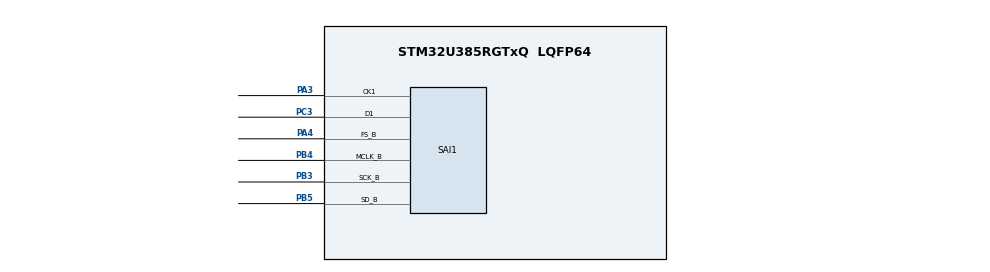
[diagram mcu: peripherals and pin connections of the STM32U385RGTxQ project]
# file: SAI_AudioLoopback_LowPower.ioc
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CORTEX_M33_NS.userName=CORTEX_M33
GPDMA1.CIRCULARMODE_GPDMACH0=ENABLE
GPDMA1.CIRCULARMODE_GPDMACH1=ENABLE
GPDMA1.DESTDATAWIDTH_GPDMACH1=DMA_DEST_DATAWIDTH_HALFWORD
GPDMA1.DESTINC_GPDMACH0=DMA_DINC_INCREMENTED
GPDMA1.DIRECTION_GPDMACH1=DMA_MEMORY_TO_PERIPH
GPDMA1.DMAHANDLE_GPDMACH1=hdmatx
GPDMA1.IPHANDLE_GPDMACH0-SIMPLEREQUEST_GPDMACH0=__NULL
GPDMA1.IPHANDLE_GPDMACH1-SIMPLEREQUEST_GPDMACH1=__NULL
GPDMA1.LINKALLOCATEDPORT_CIRCULAR_GPDMACH0=DMA_LINK_ALLOCATED_PORT1
GPDMA1.PRIORITY_LL_CIRCULAR_GPDMACH0=DMA_LOW_PRIORITY_HIGH_WEIGHT
GPDMA1.PRIORITY_LL_CIRCULAR_GPDMACH1=DMA_LOW_PRIORITY_HIGH_WEIGHT
GPDMA1.REQUEST_GPDMACH0=GPDMA1_REQUEST_SAI1_A
GPDMA1.REQUEST_GPDMACH1=GPDMA1_REQUEST_SAI1_B
GPDMA1.SRCDATAWIDTH_GPDMACH1=DMA_SRC_DATAWIDTH_HALFWORD
GPDMA1.SRCINC_GPDMACH1=DMA_SINC_INCREMENTED
GPDMA1.TRANSFERALLOCATEDPORTDEST_GPDMACH0=DMA_DEST_ALLOCATED_PORT1
GPDMA1.TRANSFERALLOCATEDPORTDEST_GPDMACH1=DMA_DEST_ALLOCATED_PORT1
Mcu.Family=STM32U3
Mcu.Name=STM32U385RGTxQ
Mcu.Package=LQFP64
NVIC.GPDMA1_Channel0_IRQn=true\:0\:0\:false\:false\:true\:false\:true\:true
NVIC.GPDMA1_Channel1_IRQn=true\:0\:0\:false\:false\:true\:false\:true\:true
NVIC.PriorityGroup=NVIC_PRIORITYGROUP_4
NVIC.SAI1_IRQn=true\:0\:0\:false\:false\:true\:true\:true\:true
PA3.GPIO_Speed=GPIO_SPEED_FREQ_HIGH
PA3.Mode=PDM_Master_Mode_CK1
PA3.Signal=SAI1_CK1
PA4.GPIO_Speed=GPIO_SPEED_FREQ_HIGH
PA4.Mode=SAI_B_MasterWithClock
PA4.Signal=SAI1_FS_B
PB3\ (JTDO/TRACESWO).GPIO_Speed=GPIO_SPEED_FREQ_HIGH
PB3\ (JTDO/TRACESWO).Mode=SAI_B_MasterWithClock
PB3\ (JTDO/TRACESWO).Signal=SAI1_SCK_B
PB4\ (NJTRST).GPIO_Speed=GPIO_SPEED_FREQ_HIGH
PB4\ (NJTRST).Mode=SAI_B_MasterWithClock
PB4\ (NJTRST).Signal=SAI1_MCLK_B
PB5.GPIO_Speed=GPIO_SPEED_FREQ_HIGH
PB5.Mode=SAI_B_MasterWithClock
PB5.Signal=SAI1_SD_B
PC3.GPIO_Speed=GPIO_SPEED_FREQ_HIGH
PC3.Mode=PDM_Master_Mode_CK1
PC3.Signal=SAI1_D1
ProjectManager.HeapSize=0x200
ProjectManager.StackSize=0x400
ProjectManager.TargetToolchain=EWARM V9.20
RCC.ADCFreq_Value=12000000
RCC.AHBFreq_Value=12000000
RCC.APB1Freq_Value=12000000
RCC.APB1TimFreq_Value=12000000
RCC.APB2Freq_Value=12000000
RCC.APB2TimFreq_Value=12000000
RCC.APB3Freq_Value=12000000
RCC.CortexFreq_Value=1500000
RCC.HCLKFreq_Value=12000000
RCC.HSE_VALUE=16000000
RCC.HSI48_VALUE=48000000
RCC.HSI_VALUE=16000000
RCC.LSE_VALUE=32768
RCC.LSIDIV_VALUE=32000
RCC.MSIKDIV=RCC_MSI_DIV2
RCC.SYSCLKFreq_VALUE=12000000
RCC.USBFreq_Value=12000000
SAI1.Activation=ENABLE
SAI1.ActiveFrameLength-SAI_B_MasterWithClock=16
SAI1.AudioFrequency-PDM_Master_Mode_CK1=SAI_AUDIO_FREQUENCY_MCKDIV
SAI1.AudioFrequency-SAI_B_MasterWithClock=SAI_AUDIO_FREQUENCY_32K
SAI1.DataSize-SAI_B_MasterWithClock=SAI_DATASIZE_16
SAI1.ErrorAudioFreq-PDM_Master_Mode_CK1=-2.34 %
SAI1.ErrorAudioFreq-SAI_B_MasterWithClock=-2.34 %
SAI1.FIFOThreshold-PDM_Master_Mode_CK1=SAI_FIFOTHRESHOLD_1QF
SAI1.FIFOThreshold-SAI_B_MasterWithClock=SAI_FIFOTHRESHOLD_1QF
SAI1.FSOffset-SAI_B_MasterWithClock=SAI_FS_BEFOREFIRSTBIT
SAI1.FSPolarity-PDM_Master_Mode_CK1=SAI_FS_ACTIVE_HIGH
SAI1.FirstBit-PDM_Master_Mode_CK1=SAI_FIRSTBIT_LSB
SAI1.FrameLength-PDM_Master_Mode_CK1=16
SAI1.FrameLength-SAI_B_MasterWithClock=32
SAI1.Instance-PDM_Master_Mode_CK1=SAI$Index_Block_A
SAI1.Instance-SAI_B_MasterWithClock=SAI$Index_Block_B
SAI1.MckOutput-PDM_Master_Mode_CK1=SAI_MCK_OUTPUT_DISABLE
SAI1.MckOutput-SAI_B_MasterWithClock=SAI_MCK_OUTPUT_ENABLE
SAI1.Mckdiv-PDM_Master_Mode_CK1=12
SAI1.NoDivider-PDM_Master_Mode_CK1=SAI_MASTERDIVIDER_DISABLE
SAI1.OutputDrive-PDM_Master_Mode_CK1=SAI_OUTPUTDRIVE_ENABLE
SAI1.RealAudioFreq-PDM_Master_Mode_CK1=0 Hz
SAI1.RealAudioFreq-SAI_B_MasterWithClock=31.25 KHz
SAI1.SlotActive-PDM_Master_Mode_CK1=0x0000FFFF
SAI1.SlotActive-SAI_B_MasterWithClock=0x0000FFFF
SAI1.SlotNumber-PDM_Master_Mode_CK1=2
SAI1.SlotNumber-SAI_B_MasterWithClock=2
SAI1.VirtualMode-PDM_Master_Mode_CK1=VM_MASTER
SAI1.VirtualMode-SAI_B_MasterWithClock=VM_MASTER
SAI1.VirtualProtocol-PDM_Master_Mode_CK1=VM_PDM_PROTOCOL
SAI1.VirtualSlotActive-PDM_Master_Mode_CK1=SAI_SLOTACTIVE_ALL
SAI1.VirtualSlotActive-SAI_B_MasterWithClock=SAI_SLOTACTIVE_ALL
VP_GPDMA1_VS_GPDMACH0.Mode=SIMPLEREQUEST_GPDMACH0
VP_GPDMA1_VS_GPDMACH1.Mode=SIMPLEREQUEST_GPDMACH1
VP_ICACHE_VS_ICACHE.Mode=DirectMappedCache
VP_PWR_VS_DBSignals.Mode=DisableDeadBatterySignals
VP_PWR_VS_LPOM.Mode=PowerOptimisation
VP_PWR_VS_SECSignals.Mode=Security/Privilege
board=custom

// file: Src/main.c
/* USER CODE BEGIN Header */
/**
  ******************************************************************************
  * @file           : main.c
  * @brief          : Main program body
  ******************************************************************************
  * @attention
  *
  * Copyright (c) 2024 STMicroelectronics.
  * All rights reserved.
  *
  * This software is licensed under terms that can be found in the LICENSE file
  * in the root directory of this software component.
  * If no LICENSE file comes with this software, it is provided AS-IS.
  *
  ******************************************************************************
  */
/* USER CODE END Header */
#include "main.h"

/* USER CODE BEGIN Includes */
#include "pdm2pcm_glo.h"
#include "stm32u3xx_nucleo.h"
#include "stm32u3xx_nucleo_bus.h"
#include "audio.h"
#include "sta350bw.h"
/* USER CODE END Includes */

/* USER CODE BEGIN PD */
#define SAT350BW_I2C_ADDRESS (uint8_t) 0x38U
/* USER CODE END PD */

SAI_HandleTypeDef hsai_BlockA1;
SAI_HandleTypeDef hsai_BlockB1;
DMA_NodeTypeDef Node_GPDMA1_Channel1;
DMA_QListTypeDef List_GPDMA1_Channel1;
DMA_HandleTypeDef handle_GPDMA1_Channel1;
DMA_NodeTypeDef Node_GPDMA1_Channel0;
DMA_QListTypeDef List_GPDMA1_Channel0;
DMA_HandleTypeDef handle_GPDMA1_Channel0;

/* USER CODE BEGIN PV */
static uint8_t  PdmBuffer[10240U]; /* 20ms */
static uint16_t PcmBuffer[32000U]; /* 500ms */

static __IO uint32_t PdmHalfBufferCplt;
static __IO uint32_t PdmBufferCplt;

static uint32_t PcmBufferPtr;

static AUDIO_Drv_t *AudioDrv = NULL;
void  *AudioCompObj;
/* USER CODE END PV */

void SystemClock_Config(void);
static void MX_GPIO_Init(void);
static void MX_GPDMA1_Init(void);
static void MX_ICACHE_Init(void);
static void MX_SAI1_Init(void);
/* USER CODE BEGIN PFP */
static int32_t STA350BW_Probe(void);
/* USER CODE END PFP */

int main(void)
{

  /* USER CODE BEGIN 1 */
  PDM_Filter_Handler_t  PDM_FilterHandler[2];
  PDM_Filter_Config_t   PDM_FilterConfig[2];
  uint32_t              i;
  uint32_t              PlaybackStarted = 0U;
  /* USER CODE END 1 */

  /* MCU Configuration--------------------------------------------------------*/

  /* Reset of all peripherals, Initializes the Flash interface and the Systick. */
  HAL_Init();

  /* Configure the system clock */
  SystemClock_Config();

  /* USER CODE BEGIN SysInit */
  if (BSP_ERROR_NONE != BSP_LED_Init(LED_GREEN))
  {
    Error_Handler();
  }
  /* USER CODE END SysInit */

  /* Initialize all configured peripherals */
  MX_GPIO_Init();
  MX_GPDMA1_Init();
  MX_ICACHE_Init();
  MX_SAI1_Init();
  /* USER CODE BEGIN 2 */
  /* Probe audio compoanent */
  if (STA350BW_Probe() != BSP_ERROR_NONE)
  {
    Error_Handler();
  }

  /* Initialize the codec internal registers */
  if (AudioDrv->Init(AudioCompObj, NULL) < 0)
  {
    Error_Handler();
  }

  /* Set frequency on audio codec */
  if (AudioDrv->SetFrequency(AudioCompObj, 32000U) < 0)
  {
    Error_Handler();
  }

  /* Enable CRC peripheral to unlock the PDM library */
  __HAL_RCC_CRC_CLK_ENABLE();

  /* Init and configure PDM filters */
  for (i = 0; i < 2; i++)
  {
    PDM_FilterHandler[i].bit_order  = PDM_FILTER_BIT_ORDER_MSB;
    PDM_FilterHandler[i].endianness = PDM_FILTER_ENDIANNESS_LE;
    PDM_FilterHandler[i].high_pass_tap = 2122358088;
    PDM_FilterHandler[i].out_ptr_channels = 2;
    PDM_FilterHandler[i].in_ptr_channels  = 2;
    if (0 != PDM_Filter_Init((PDM_Filter_Handler_t *)(&PDM_FilterHandler[i])))
    {
      Error_Handler();
    }
  }
  for (i = 0; i < 2; i++)
  {
    PDM_FilterConfig[i].mic_gain = 24;
    PDM_FilterConfig[i].output_samples_number = 320;
    PDM_FilterConfig[i].decimation_factor = PDM_FILTER_DEC_FACTOR_64;
    if (0 != PDM_Filter_setConfig((PDM_Filter_Handler_t *)&PDM_FilterHandler[i], &PDM_FilterConfig[i]))
    {
      Error_Handler();
    }
  }

  /* Start PDM record */
  PdmHalfBufferCplt = 0;
  PdmBufferCplt = 0;
  PcmBufferPtr = 0;
  if (HAL_OK != HAL_SAI_Receive_DMA(&hsai_BlockA1, PdmBuffer, 10240U))
  {
    Error_Handler();
  }

  /* Suspend tick to avoid wake-up each ms */
  HAL_SuspendTick();
  /* USER CODE END 2 */

  /* Infinite loop */
  while (1)
  {

    /* USER CODE BEGIN 3 */
    if (PdmHalfBufferCplt == 1)
    {
      /* Store values on PCM buffer */
      if (0 != PDM_Filter(&PdmBuffer[0], &PcmBuffer[PcmBufferPtr], &PDM_FilterHandler[0]))
      {
        Error_Handler();
      }
      if (0 != PDM_Filter(&PdmBuffer[1], &PcmBuffer[PcmBufferPtr + 1], &PDM_FilterHandler[1]))
      {
        Error_Handler();
      }
      PcmBufferPtr += 640;

      /* Reset half buffer complete flag */
      PdmHalfBufferCplt = 0;
      if (PdmBufferCplt == 1)
      {
        Error_Handler();
      }

      /* Start playback when first half of PCM buffer is filled */
      if ((PlaybackStarted == 0U) && (PcmBufferPtr == 16000U))
      {
        if(HAL_OK != HAL_SAI_Transmit_DMA(&hsai_BlockB1, (uint8_t *)PcmBuffer, 32000U))
        {
          Error_Handler();
        }

        PlaybackStarted = 1U;
      }
      (void) HAL_PWR_EnterSLEEPMode(PWR_MAINREGULATOR_ON, PWR_SLEEPENTRY_WFI);
    }
    if (PdmBufferCplt == 1)
    {
      /* Store values on PCM buffer */
      if (0 != PDM_Filter(&PdmBuffer[5120], &PcmBuffer[PcmBufferPtr], &PDM_FilterHandler[0]))
      {
        Error_Handler();
      }
      if (0 != PDM_Filter(&PdmBuffer[5121], &PcmBuffer[PcmBufferPtr + 1], &PDM_FilterHandler[1]))
      {
        Error_Handler();
      }
      PcmBufferPtr += 640;
      if(PcmBufferPtr >= 32000U)
      {
        PcmBufferPtr = 0;
      }

      /* Reset buffer complete flag */
      PdmBufferCplt = 0;
      if (PdmHalfBufferCplt == 1)
      {
        Error_Handler();
      }
      (void) HAL_PWR_EnterSLEEPMode(PWR_MAINREGULATOR_ON, PWR_SLEEPENTRY_WFI);
    }
  }
  /* USER CODE END 3 */
}

void SystemClock_Config(void)
{
  RCC_OscInitTypeDef RCC_OscInitStruct = {0};
  RCC_ClkInitTypeDef RCC_ClkInitStruct = {0};

  /** Configure the main internal regulator output voltage
  */
  if (HAL_PWREx_ControlVoltageScaling(PWR_REGULATOR_VOLTAGE_SCALE2) != HAL_OK)
  {
    Error_Handler();
  }

  /** Initializes the CPU, AHB and APB buses clocks
  */
  RCC_OscInitStruct.OscillatorType = RCC_OSCILLATORTYPE_MSIS|RCC_OSCILLATORTYPE_MSIK;
  RCC_OscInitStruct.MSISState = RCC_MSI_ON;
  RCC_OscInitStruct.MSISSource = RCC_MSI_RC0;
  RCC_OscInitStruct.MSISDiv = RCC_MSI_DIV8;
  RCC_OscInitStruct.MSIKState = RCC_MSI_ON;
  RCC_OscInitStruct.MSIKSource = RCC_MSI_RC0;
  RCC_OscInitStruct.MSIKDiv = RCC_MSI_DIV2;

  if (HAL_RCC_OscConfig(&RCC_OscInitStruct) != HAL_OK)
  {
    Error_Handler();
  }

  /** Initializes the CPU, AHB and APB buses clocks
  */
  RCC_ClkInitStruct.ClockType = RCC_CLOCKTYPE_HCLK|RCC_CLOCKTYPE_SYSCLK
                              |RCC_CLOCKTYPE_PCLK1|RCC_CLOCKTYPE_PCLK2
                              |RCC_CLOCKTYPE_PCLK3;
  RCC_ClkInitStruct.SYSCLKSource = RCC_SYSCLKSOURCE_MSIS;
  RCC_ClkInitStruct.AHBCLKDivider = RCC_SYSCLK_DIV1;
  RCC_ClkInitStruct.APB1CLKDivider = RCC_HCLK_DIV1;
  RCC_ClkInitStruct.APB2CLKDivider = RCC_HCLK_DIV1;
  RCC_ClkInitStruct.APB3CLKDivider = RCC_HCLK_DIV1;

  if (HAL_RCC_ClockConfig(&RCC_ClkInitStruct, FLASH_LATENCY_0) != HAL_OK)
  {
    Error_Handler();
  }
}

static void MX_GPDMA1_Init(void)
{

  /* Peripheral clock enable */
  __HAL_RCC_GPDMA1_CLK_ENABLE();

  /* GPDMA1 interrupt Init */
    HAL_NVIC_SetPriority(GPDMA1_Channel0_IRQn, 0, 0);
    HAL_NVIC_EnableIRQ(GPDMA1_Channel0_IRQn);
    HAL_NVIC_SetPriority(GPDMA1_Channel1_IRQn, 0, 0);
    HAL_NVIC_EnableIRQ(GPDMA1_Channel1_IRQn);

}

static void MX_ICACHE_Init(void)
{

  /** Enable instruction cache in 1-way (direct mapped cache)
  */
  if (HAL_ICACHE_ConfigAssociativityMode(ICACHE_1WAY) != HAL_OK)
  {
    Error_Handler();
  }
  if (HAL_ICACHE_Enable() != HAL_OK)
  {
    Error_Handler();
  }

}

static void MX_SAI1_Init(void)
{

  hsai_BlockA1.Instance = SAI1_Block_A;
  hsai_BlockA1.Init.Protocol = SAI_FREE_PROTOCOL;
  hsai_BlockA1.Init.AudioMode = SAI_MODEMASTER_RX;
  hsai_BlockA1.Init.DataSize = SAI_DATASIZE_8;
  hsai_BlockA1.Init.FirstBit = SAI_FIRSTBIT_LSB;
  hsai_BlockA1.Init.ClockStrobing = SAI_CLOCKSTROBING_FALLINGEDGE;
  hsai_BlockA1.Init.Synchro = SAI_ASYNCHRONOUS;
  hsai_BlockA1.Init.OutputDrive = SAI_OUTPUTDRIVE_ENABLE;
  hsai_BlockA1.Init.NoDivider = SAI_MASTERDIVIDER_DISABLE;
  hsai_BlockA1.Init.FIFOThreshold = SAI_FIFOTHRESHOLD_1QF;
  hsai_BlockA1.Init.AudioFrequency = SAI_AUDIO_FREQUENCY_MCKDIV;
  hsai_BlockA1.Init.Mckdiv = 12;
  hsai_BlockA1.Init.SynchroExt = SAI_SYNCEXT_DISABLE;
  hsai_BlockA1.Init.MckOutput = SAI_MCK_OUTPUT_DISABLE;
  hsai_BlockA1.Init.MonoStereoMode = SAI_STEREOMODE;
  hsai_BlockA1.Init.CompandingMode = SAI_NOCOMPANDING;
  hsai_BlockA1.Init.PdmInit.Activation = ENABLE;
  hsai_BlockA1.Init.PdmInit.MicPairsNbr = 1;
  hsai_BlockA1.Init.PdmInit.ClockEnable = SAI_PDM_CLOCK1_ENABLE;
  hsai_BlockA1.FrameInit.FrameLength = 16;
  hsai_BlockA1.FrameInit.ActiveFrameLength = 1;
  hsai_BlockA1.FrameInit.FSDefinition = SAI_FS_STARTFRAME;
  hsai_BlockA1.FrameInit.FSPolarity = SAI_FS_ACTIVE_HIGH;
  hsai_BlockA1.FrameInit.FSOffset = SAI_FS_FIRSTBIT;
  hsai_BlockA1.SlotInit.FirstBitOffset = 0;
  hsai_BlockA1.SlotInit.SlotSize = SAI_SLOTSIZE_DATASIZE;
  hsai_BlockA1.SlotInit.SlotNumber = 2;
  hsai_BlockA1.SlotInit.SlotActive = 0x0000FFFF;
  if (HAL_SAI_Init(&hsai_BlockA1) != HAL_OK)
  {
    Error_Handler();
  }
  hsai_BlockB1.Instance = SAI1_Block_B;
  hsai_BlockB1.Init.Protocol = SAI_FREE_PROTOCOL;
  hsai_BlockB1.Init.AudioMode = SAI_MODEMASTER_TX;
  hsai_BlockB1.Init.DataSize = SAI_DATASIZE_16;
  hsai_BlockB1.Init.FirstBit = SAI_FIRSTBIT_MSB;
  hsai_BlockB1.Init.ClockStrobing = SAI_CLOCKSTROBING_FALLINGEDGE;
  hsai_BlockB1.Init.Synchro = SAI_ASYNCHRONOUS;
  hsai_BlockB1.Init.OutputDrive = SAI_OUTPUTDRIVE_DISABLE;
  hsai_BlockB1.Init.NoDivider = SAI_MASTERDIVIDER_ENABLE;
  hsai_BlockB1.Init.FIFOThreshold = SAI_FIFOTHRESHOLD_1QF;
  hsai_BlockB1.Init.AudioFrequency = SAI_AUDIO_FREQUENCY_32K;
  hsai_BlockB1.Init.SynchroExt = SAI_SYNCEXT_DISABLE;
  hsai_BlockB1.Init.MckOutput = SAI_MCK_OUTPUT_ENABLE;
  hsai_BlockB1.Init.MonoStereoMode = SAI_STEREOMODE;
  hsai_BlockB1.Init.CompandingMode = SAI_NOCOMPANDING;
  hsai_BlockB1.Init.TriState = SAI_OUTPUT_NOTRELEASED;
  hsai_BlockB1.Init.PdmInit.Activation = DISABLE;
  hsai_BlockB1.Init.PdmInit.MicPairsNbr = 1;
  hsai_BlockB1.Init.PdmInit.ClockEnable = SAI_PDM_CLOCK1_ENABLE;
  hsai_BlockB1.FrameInit.FrameLength = 32;
  hsai_BlockB1.FrameInit.ActiveFrameLength = 16;
  hsai_BlockB1.FrameInit.FSDefinition = SAI_FS_STARTFRAME;
  hsai_BlockB1.FrameInit.FSPolarity = SAI_FS_ACTIVE_LOW;
  hsai_BlockB1.FrameInit.FSOffset = SAI_FS_BEFOREFIRSTBIT;
  hsai_BlockB1.SlotInit.FirstBitOffset = 0;
  hsai_BlockB1.SlotInit.SlotSize = SAI_SLOTSIZE_DATASIZE;
  hsai_BlockB1.SlotInit.SlotNumber = 2;
  hsai_BlockB1.SlotInit.SlotActive = 0x0000FFFF;
  if (HAL_SAI_Init(&hsai_BlockB1) != HAL_OK)
  {
    Error_Handler();
  }

}

static void MX_GPIO_Init(void)
{

  /* GPIO Ports Clock Enable */
  __HAL_RCC_GPIOC_CLK_ENABLE();
  __HAL_RCC_GPIOA_CLK_ENABLE();
  __HAL_RCC_GPIOB_CLK_ENABLE();

}

/* USER CODE BEGIN 4 */
/**
  * @brief Rx Transfer completed callback.
  * @param  hsai pointer to a SAI_HandleTypeDef structure that contains
  *              the configuration information for SAI module.
  * @retval None
  */
void HAL_SAI_RxCpltCallback(SAI_HandleTypeDef *hsai)
{
  if (hsai->Instance == hsai_BlockA1.Instance)
  {
    PdmBufferCplt++;
  }
}

/**
  * @brief Rx Transfer half completed callback.
  * @param  hsai pointer to a SAI_HandleTypeDef structure that contains
  *              the configuration information for SAI module.
  * @retval None
  */
void HAL_SAI_RxHalfCpltCallback(SAI_HandleTypeDef *hsai)
{
  if (hsai->Instance == hsai_BlockA1.Instance)
  {
    PdmHalfBufferCplt++;
  }
}

/**
  * @brief  Register Bus IOs if component ID is OK
  * @retval error status
  */
static int32_t STA350BW_Probe(void)
{
  int32_t                   ret = BSP_ERROR_NONE;
  STA350BW_IO_t             IOCtx;
  static STA350BW_Object_t  STA350BWObj;
  GPIO_InitTypeDef          gpio_init_structure;

  /* Reset STA350BW */
  __HAL_RCC_GPIOC_CLK_ENABLE();
  gpio_init_structure.Pin   = GPIO_PIN_8;
  gpio_init_structure.Mode  = GPIO_MODE_OUTPUT_PP;
  gpio_init_structure.Speed = GPIO_SPEED_FREQ_HIGH;
  gpio_init_structure.Pull  = GPIO_PULLUP;
  HAL_GPIO_Init(GPIOC, &gpio_init_structure);
  HAL_GPIO_WritePin(GPIOC, GPIO_PIN_8, GPIO_PIN_RESET);
  HAL_Delay(100);
  HAL_GPIO_WritePin(GPIOC, GPIO_PIN_8, GPIO_PIN_SET);

  /* Configure the audio driver */
  IOCtx.Address     = SAT350BW_I2C_ADDRESS;
  IOCtx.Init        = BSP_I2C1_Init;
  IOCtx.DeInit      = BSP_I2C1_DeInit;
  IOCtx.ReadReg     = BSP_I2C1_ReadReg;
  IOCtx.WriteReg    = BSP_I2C1_WriteReg;
  IOCtx.GetTick     = BSP_GetTick;
  IOCtx.BusType     = 0;

  if (STA350BW_RegisterBusIO(&STA350BWObj, &IOCtx) != STA350BW_OK)
  {
    ret = BSP_ERROR_BUS_FAILURE;
  }
  else
  {
    AudioDrv = (AUDIO_Drv_t *) &STA350BW_AUDIO_Driver;
    AudioCompObj = &STA350BWObj;
  }

  return ret;
}
/* USER CODE END 4 */

void Error_Handler(void)
{
  /* USER CODE BEGIN Error_Handler_Debug */
  /* User can add his own implementation to report the HAL error return state */
  HAL_ResumeTick();
  while (1)
  {
    /* Toggle green led for error */
    (void) BSP_LED_Toggle(LED_GREEN);
    HAL_Delay(500);
  }
  /* USER CODE END Error_Handler_Debug */
}
